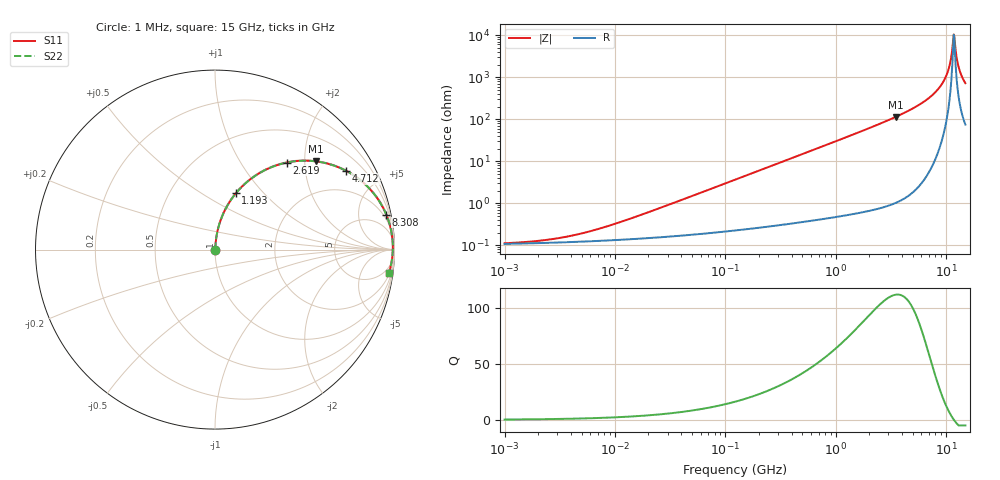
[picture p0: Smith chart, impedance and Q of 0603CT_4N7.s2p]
# MHz  S  MA  R  50
!Freq  MagS11  AngS11  MagS21  AngS21  MagS12  AngS12  MagS22  AngS22
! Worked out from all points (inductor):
!   968 points, 1 MHz to 15 GHz, reference 50 ohm
!   read as one part in series: L = 4.7 nH near 14.25 MHz
!   highest Q = 111 at 3.496 GHz (marker M1), where L = 5.15 nH
!   self-resonance near 11.77 GHz
!   S11 on the Smith chart (normalised r, x): 1 MHz: 1.00, +0.00; 1.193 GHz: 1.01, +0.71; 2.619 GHz: 1.02, +1.63; 4.712 GHz: 1.03, +3.31; 8.308 GHz: 1.28, +9.72; 15 GHz: 2, -14
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1  0.001115 15.3  0.9989 -0.0  0.9989 -0.0  0.001115 15.3
2.400385  0.001341 31.8  0.9989 -0.0  0.9989 -0.0  0.001341 31.8
5.012594  0.001916 50.4  0.9988 -0.1  0.9988 -0.1  0.001916 50.4
24.87733  0.007494 77.8  0.9984 -0.4  0.9984 -0.4  0.007494 77.8
123.4653  0.03643 84.4  0.9971 -2.1  0.9971 -2.1  0.03643 84.4
612.7539  0.1779 78.5  0.9803 -10.2  0.9803 -10.2  0.1779 78.5
1193.488  0.334 69.7  0.9378 -19.5  0.9378 -19.5  0.334 69.7
2619.429  0.6282 50.5  0.7721 -38.9  0.7721 -38.9  0.6282 50.5
3041.076  0.6901 45.8  0.7174 -43.6  0.7174 -43.6  0.6901 45.8
3495.638  0.746 41.2  0.6593 -48.2  0.6593 -48.2  0.746 41.2
4711.592  0.8523 31.0  0.5149 -58.5  0.5149 -58.5  0.8523 31.0
6542.942  0.937 19.6  0.3359 -69.5  0.3359 -69.5  0.937 19.6
8307.8  0.9739 11.6  0.2004 -76.8  0.2004 -76.8  0.9739 11.6
9361.437  0.9845 7.6  0.1323 -79.5  0.1323 -79.5  0.9845 7.6
10238.47  0.9891 4.6  0.0814 -80.0  0.0814 -80.0  0.9891 4.6
10760.73  0.9905 3.0  0.05333 -78.2  0.05333 -78.2  0.9905 3.0
11422.73  0.9909 1.1  0.02077 -63.4  0.02077 -63.4  0.9909 1.1
11768.85  0.9906 0.1  0.009542 -10.7  0.009542 -10.7  0.9906 0.1
12125.46  0.9901 -0.9  0.01806 56.1  0.01806 56.1  0.9901 -0.9
12743.98  0.9884 -2.5  0.04464 73.7  0.04464 73.7  0.9884 -2.5
13261.44  0.9864 -3.8  0.06684 76.4  0.06684 76.4  0.9864 -3.8
15000  0.9767 -7.8  0.136 76.3  0.136 76.3  0.9767 -7.8
